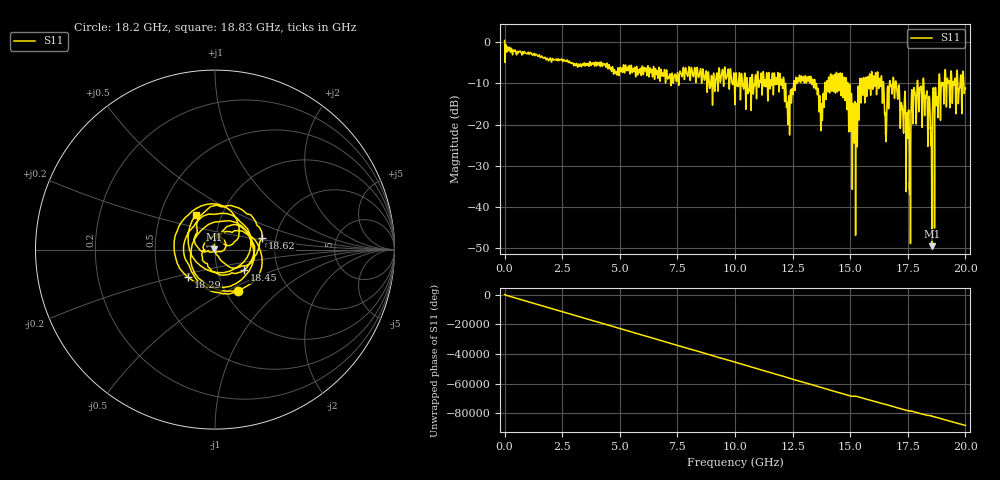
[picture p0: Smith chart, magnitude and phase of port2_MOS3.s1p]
! MS46122B
! 2250307/22442219
! 7/28/2025 2:01:18 PM
! C:\USERS\SPARKY\DOCUMENTS\VNA_DATA\JULY28_2025\3K\PORT2_MOS3.S1P
! CHANNEL.1
! TR.MEASUREMENT
! RAW.DATA
# GHZ S RI R 50.0
! FREQ.GHZ  S11RE  S11IM
!; PortSelection: Port_1
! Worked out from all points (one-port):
!   10001 points, 1 MHz to 20 GHz, reference 50 ohm
!   lowest |S11| = -49.5 dB at 18.54 GHz (marker M1), VSWR 1.01, Z = 49.7 + j0.152 ohm
!   |S11| at or under -10 dB: 14.9 GHz to 15.42 GHz (518 MHz wide, 3.42 % of centre); 17 GHz to 17.91 GHz (912.4 MHz wide, 5.23 % of centre); 18.2 GHz to 18.84 GHz (649 MHz wide, 3.5 % of centre) (the widest 3 of 82)
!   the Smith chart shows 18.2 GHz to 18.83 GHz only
!   S11 on the Smith chart (normalised r, x): 18.2 GHz: 1.14, -0.57; 18.29 GHz: 0.71, -0.23; 18.45 GHz: 1.34, -0.32; 18.62 GHz: 1.69, +0.23; 18.83 GHz: 0.75, +0.31
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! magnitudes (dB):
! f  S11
! 1 MHz  0.4
! 2.501 GHz  -4.4
! 5.001 GHz  -6.2
! 7.501 GHz  -7.5
! 10 GHz  -14.8
! 12.03 GHz  -9.1
! 12.31 GHz  -16.9
! 12.5 GHz  -11.9
! 13.29 GHz  -8.3
! 13.73 GHz  -21.3
! 14.49 GHz  -7.6
! 15 GHz  -14.2
! 15.18 GHz  -22.0
! 15.51 GHz  -8.9
! 16.02 GHz  -8.2
! 16.37 GHz  -8.8
! 16.58 GHz  -19.4
! 16.93 GHz  -12.6
! 17.5 GHz  -23.1
! 17.66 GHz  -13.6
! 17.74 GHz  -15.1
! 18.2 GHz  -11.6
! 18.29 GHz  -13.3
! 18.45 GHz  -14.1
! 18.54 GHz  -49.5
! 18.62 GHz  -11.4
! 18.83 GHz  -13.1
! 20 GHz  -11.2
